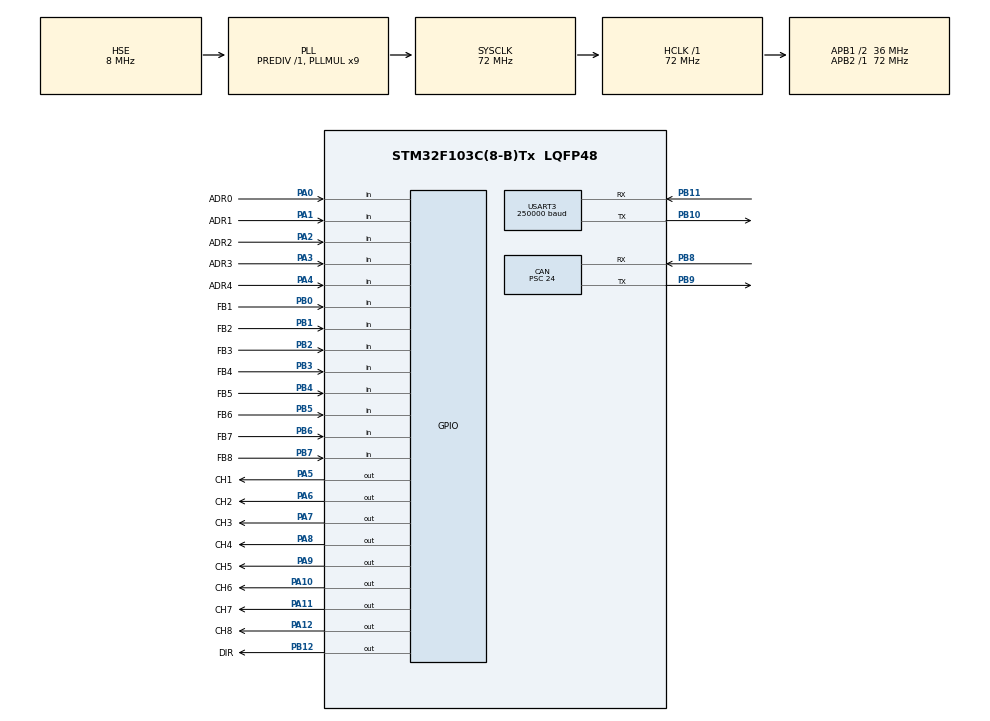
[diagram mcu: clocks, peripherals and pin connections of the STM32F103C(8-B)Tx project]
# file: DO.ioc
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CAN.CalculateBaudRate=499999
CAN.CalculateTimeBit=2000
CAN.CalculateTimeQuantum=666.6666666666667
CAN.Prescaler=24
Mcu.Family=STM32F1
Mcu.Name=STM32F103C(8-B)Tx
Mcu.Package=LQFP48
NVIC.PriorityGroup=NVIC_PRIORITYGROUP_4
NVIC.USART3_IRQn=true\:0\:0\:false\:false\:true\:true\:true\:true
PA0-WKUP.GPIO_Label=ADR0
PA0-WKUP.Signal=GPIO_Input
PA1.GPIO_Label=ADR1
PA1.Signal=GPIO_Input
PA10.GPIO_Label=CH6
PA10.Signal=GPIO_Output
PA11.GPIO_Label=CH7
PA11.Signal=GPIO_Output
PA12.GPIO_Label=CH8
PA12.Signal=GPIO_Output
PA13.Mode=Serial_Wire
PA13.Signal=SYS_JTMS-SWDIO
PA14.Mode=Serial_Wire
PA14.Signal=SYS_JTCK-SWCLK
PA2.GPIO_Label=ADR2
PA2.Signal=GPIO_Input
PA3.GPIO_Label=ADR3
PA3.Signal=GPIO_Input
PA4.GPIO_Label=ADR4
PA4.Signal=GPIO_Input
PA5.GPIO_Label=CH1
PA5.Signal=GPIO_Output
PA6.GPIO_Label=CH2
PA6.Signal=GPIO_Output
PA7.GPIO_Label=CH3
PA7.Signal=GPIO_Output
PA8.GPIO_Label=CH4
PA8.Signal=GPIO_Output
PA9.GPIO_Label=CH5
PA9.Signal=GPIO_Output
PB0.GPIO_Label=FB1
PB0.Signal=GPIO_Input
PB1.GPIO_Label=FB2
PB1.Signal=GPIO_Input
PB10.Mode=Asynchronous
PB10.Signal=USART3_TX
PB11.Mode=Asynchronous
PB11.Signal=USART3_RX
PB12.GPIO_Label=DIR
PB12.Signal=GPIO_Output
PB2.GPIO_Label=FB3
PB2.Signal=GPIO_Input
PB3.GPIO_Label=FB4
PB3.Signal=GPIO_Input
PB4.GPIO_Label=FB5
PB4.Signal=GPIO_Input
PB5.GPIO_Label=FB6
PB5.Signal=GPIO_Input
PB6.GPIO_Label=FB7
PB6.Signal=GPIO_Input
PB7.GPIO_Label=FB8
PB7.Signal=GPIO_Input
PB8.Mode=CAN_Activate
PB8.Signal=CAN_RX
PB9.Mode=CAN_Activate
PB9.Signal=CAN_TX
PD0-OSC_IN.Mode=HSE-External-Oscillator
PD0-OSC_IN.Signal=RCC_OSC_IN
PD1-OSC_OUT.Mode=HSE-External-Oscillator
PD1-OSC_OUT.Signal=RCC_OSC_OUT
ProjectManager.HeapSize=0x200
ProjectManager.StackSize=0x400
ProjectManager.TargetToolchain=Other Toolchains (GPDSC)
RCC.AHBFreq_Value=72000000
RCC.APB1CLKDivider=RCC_HCLK_DIV2
RCC.APB1Freq_Value=36000000
RCC.APB1TimFreq_Value=72000000
RCC.APB2Freq_Value=72000000
RCC.APB2TimFreq_Value=72000000
RCC.HCLKFreq_Value=72000000
RCC.PLLMUL=RCC_PLL_MUL9
RCC.PLLSourceVirtual=RCC_PLLSOURCE_HSE
RCC.SYSCLKFreq_VALUE=72000000
RCC.SYSCLKSource=RCC_SYSCLKSOURCE_PLLCLK
RCC.USBFreq_Value=72000000
TIM1.Period=65534
TIM1.Prescaler=72-1
USART3.BaudRate=250000
USART3.VirtualMode=VM_ASYNC
USART3.WordLength=WORDLENGTH_8B
VP_CRC_VS_CRC.Mode=CRC_Activate
VP_TIM1_VS_ClockSourceINT.Mode=Internal
board=custom

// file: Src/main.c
/* USER CODE BEGIN Header */
/**
  ******************************************************************************
  * @file           : main.c
  * @brief          : Main program body
  ******************************************************************************
  * @attention
  *
  * <h2><center>&copy; Copyright (c) 2021 STMicroelectronics.
  * All rights reserved.</center></h2>
  *
  * This software component is licensed by ST under BSD 3-Clause license,
  * the "License"; You may not use this file except in compliance with the
  * License. You may obtain a copy of the License at:
  *                        opensource.org/licenses/BSD-3-Clause
  *
  ******************************************************************************
  */
/* USER CODE END Header */
#include "main.h"
#include "can.h"
#include "crc.h"
#include "tim.h"
#include "usart.h"
#include "gpio.h"

/* USER CODE BEGIN Includes */
#include "stdbool.h"
#include "synplc.h"
/* USER CODE END Includes */

void SystemClock_Config(void);

/* USER CODE BEGIN 0 */
  uint8_t address = 0;
  uint8_t shad_err = 0;
  bool panic = false;
  uint8_t stat;

/*
  Reg-Addresses:
    0x1 = Output Reg
    0x0 = FeedBack Reg
    0xF = Error Reg

*/

/* USER CODE END 0 */

int main(void)
{

  /* MCU Configuration--------------------------------------------------------*/

  /* Reset of all peripherals, Initializes the Flash interface and the Systick. */
  HAL_Init();

  /* Configure the system clock */
  SystemClock_Config();

  /* Initialize all configured peripherals */
  MX_GPIO_Init();
  MX_CAN_Init();
  MX_CRC_Init();
  MX_USART3_UART_Init();
  MX_TIM1_Init();
  /* USER CODE BEGIN 2 */

  Slave_Init();
  timer_init();

  reg_out = 0x00;
  HAL_GPIO_WritePin(GPIOB, GPIO_PIN_12, 0); // set Direction to read
  set_Output();

  init_485(address);

  __enable_irq();
  HAL_UART_Receive_IT(&huart3, RxBuffer, 1);

  /* USER CODE END 2 */

  /* Infinite loop */
  while (1)
  {

    /* USER CODE BEGIN 3 */

    set_Output();
    HAL_Delay(1);
    check_Output();

    if(stat != HAL_OK)
      HAL_UART_Receive_IT(&huart3, RxBuffer, 1);

    //if (panic)
    //  out_Poll();

  }
  /* USER CODE END 3 */
}

void SystemClock_Config(void)
{
  RCC_OscInitTypeDef RCC_OscInitStruct = {0};
  RCC_ClkInitTypeDef RCC_ClkInitStruct = {0};

  /** Initializes the RCC Oscillators according to the specified parameters
  * in the RCC_OscInitTypeDef structure.
  */
  RCC_OscInitStruct.OscillatorType = RCC_OSCILLATORTYPE_HSE;
  RCC_OscInitStruct.HSEState = RCC_HSE_ON;
  RCC_OscInitStruct.HSEPredivValue = RCC_HSE_PREDIV_DIV1;
  RCC_OscInitStruct.HSIState = RCC_HSI_ON;
  RCC_OscInitStruct.PLL.PLLState = RCC_PLL_ON;
  RCC_OscInitStruct.PLL.PLLSource = RCC_PLLSOURCE_HSE;
  RCC_OscInitStruct.PLL.PLLMUL = RCC_PLL_MUL9;
  if (HAL_RCC_OscConfig(&RCC_OscInitStruct) != HAL_OK)
  {
    Error_Handler();
  }

  /** Initializes the CPU, AHB and APB buses clocks
  */
  RCC_ClkInitStruct.ClockType = RCC_CLOCKTYPE_HCLK|RCC_CLOCKTYPE_SYSCLK
                              |RCC_CLOCKTYPE_PCLK1|RCC_CLOCKTYPE_PCLK2;
  RCC_ClkInitStruct.SYSCLKSource = RCC_SYSCLKSOURCE_PLLCLK;
  RCC_ClkInitStruct.AHBCLKDivider = RCC_SYSCLK_DIV1;
  RCC_ClkInitStruct.APB1CLKDivider = RCC_HCLK_DIV2;
  RCC_ClkInitStruct.APB2CLKDivider = RCC_HCLK_DIV1;

  if (HAL_RCC_ClockConfig(&RCC_ClkInitStruct, FLASH_LATENCY_2) != HAL_OK)
  {
    Error_Handler();
  }
}

/* USER CODE BEGIN 4 */

void HAL_UART_RxCpltCallback(UART_HandleTypeDef *huart)
{

  parse_485();

}

void Slave_Init()
{
  address = (0x1<<5) | (GPIOA->IDR & 0x1F);
}

void set_Output()
{
  uint16_t temp1 = 0xFFFF ^ ((~reg_out) << 5);
  uint16_t temp2 = reg_out << 5;
  GPIOA->ODR &= temp1;
  GPIOA->ODR |= temp2;
}

void check_Output()
{
  reg_feedback =  (GPIOB->IDR & 0xFF);
  /*
  if (reg_out != reg_feedback)
  {
    shad_err |= 0x01;
    reg_err = ERR_PROC;
    panic = true;
  }
  else
  {
    shad_err &= 0xFE;
    reg_err = ERR_OK;
    panic = false;
  }*/
}

void out_Poll()
{
  uint8_t pinstat = reg_out ^ shad_err;
  switch(pinstat)
  {
    case 0x01:
      HAL_GPIO_WritePin(GPIOA, GPIO_PIN_5, 0);
      break;
    case 0x02:
      HAL_GPIO_WritePin(GPIOA, GPIO_PIN_6, 0);
      break;
    case 0x04:
      HAL_GPIO_WritePin(GPIOA, GPIO_PIN_7, 0);
      break;
    case 0x08:
      HAL_GPIO_WritePin(GPIOA, GPIO_PIN_8, 0);
      break;
    case 0x10:
      HAL_GPIO_WritePin(GPIOA, GPIO_PIN_9, 0);
      break;
    case 0x20:
      HAL_GPIO_WritePin(GPIOA, GPIO_PIN_10, 0);
      break;
    case 0x40:
      HAL_GPIO_WritePin(GPIOA, GPIO_PIN_11, 0);
      break;
    case 0x80:
      HAL_GPIO_WritePin(GPIOA, GPIO_PIN_12, 0);
      break;
  }
}

/* USER CODE END 4 */

void Error_Handler(void)
{
  __disable_irq();
  while (1)
  {
  }
}
